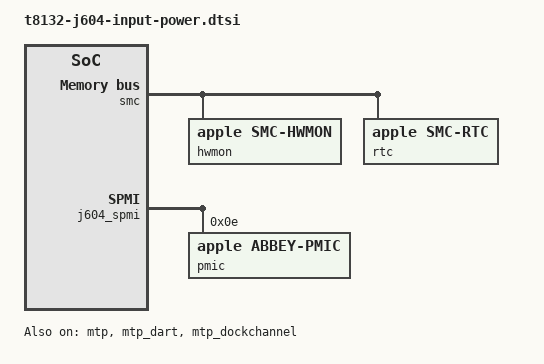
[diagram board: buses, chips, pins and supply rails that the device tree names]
// SPDX-License-Identifier: GPL-2.0-only OR MIT
/* J604 input and RTC wiring from the specification and local ADT observation. */
#include <dt-bindings/gpio/gpio.h>
#include <dt-bindings/spmi/spmi.h>

/ {
	aliases {
		keyboard = &j604_keyboard;
		mtp = &mtp;
	};
};

&mtp {
	status = "okay";
};

&mtp_mbox {
	status = "okay";
};

&mtp_dart {
	status = "okay";
	gravity,keep-boot-bypass;
};

&mtp_dockchannel {
	status = "okay";
};

&mtp_hid {
	apple,afe-reset-gpios = <&smc_gpio 0x1c GPIO_ACTIVE_LOW>;
	apple,stm-reset-gpios = <&smc_gpio 0x1d GPIO_ACTIVE_LOW>;

	multi-touch {
		firmware-name = "apple/tpmtfw-j604.bin";
		apple,power-method = <2>;
	};

	j604_keyboard: keyboard {
		hid-country-code = <0>;
		apple,keyboard-layout-id = <0>;
	};

	stm { };
	actuator { };
	tp_accel { };
};

&smc_mbox {
	status = "okay";
};

&smc {
	status = "okay";

	hwmon {
		compatible = "apple,smc-hwmon";
	};

	rtc {
		compatible = "apple,smc-rtc";
		nvmem-cells = <&j604_rtc_offset>;
		nvmem-cell-names = "rtc_offset";
	};
};

&soc {
	/* Primary PMIC bus, independently observed at this address on Mac16,1. */
	j604_spmi: spmi@388714000 {
		compatible = "apple,t8132-spmi", "apple,t8103-spmi";
		reg = <0x3 0x88714000 0 0x4000>;
		#address-cells = <2>;
		#size-cells = <0>;

		pmic@e {
			compatible = "apple,abbey-pmic", "apple,spmi-nvmem";
			reg = <0xe SPMI_USID>;

			nvmem-layout {
				compatible = "fixed-layout";
				#address-cells = <1>;
				#size-cells = <1>;

				j604_rtc_offset: rtc-offset@2100 {
					reg = <0x2100 6>;
				};
			};
		};
	};
};
